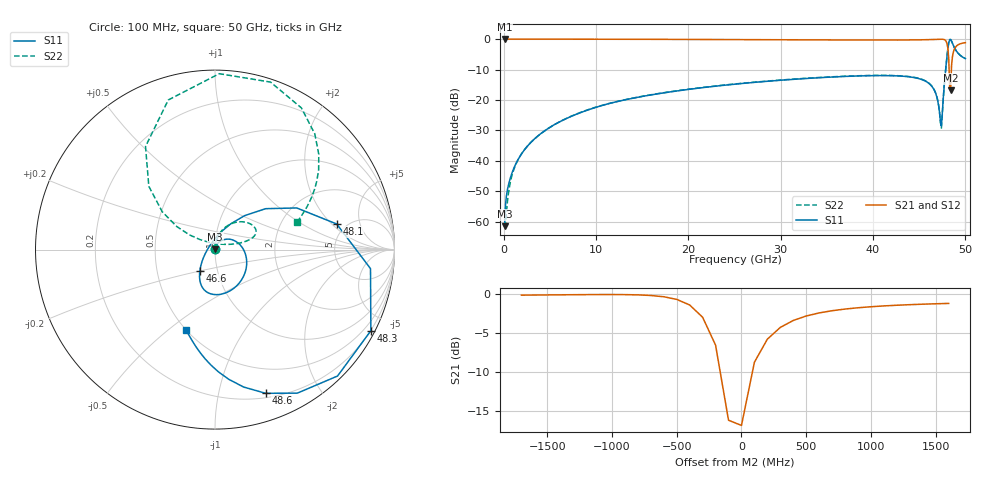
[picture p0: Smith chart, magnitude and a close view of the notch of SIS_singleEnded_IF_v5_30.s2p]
! Touchstone file from project
# GHZ S MA R 30.000000
! Modal data exported
! Port[1] = IF_output:1
! Port[2] = RF_input:1
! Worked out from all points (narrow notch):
!   500 points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, 100 MHz to 50 GHz, reference 30 ohm
!   highest |S21| = 0.00 dB at 100 MHz (marker M1); lowest = -16.8 dB at 48.4 GHz (marker M2)
!   notch at M2: 16.7 dB deep, 287 MHz wide at half that depth
!   lowest |S11| = -61.5 dB at 100 MHz (marker M3), VSWR 1.00, Z = 30 + j0.042 ohm
!   |S11| at or under -10 dB: start of sweep to 47.86 GHz
!   |S22| runs from -62.0 to -0.1 dB; largest |S21 - S12| = 0
!   S11 on the Smith chart (normalised r, x): 100 MHz: 1.00, +0.00; 46.6 GHz: 0.82, -0.20; 48.1 GHz: 4.20, +2.30; 48.3 GHz: 0.19, -4.08; 48.6 GHz: 0.24, -1.38; 50 GHz: 0.50, -0.58
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0.1  0.0008396 56.3  0.9999 -0.3  0.9999 -0.3  0.0007949 117.8
! Gamma 6.230977E-003 5.681200E+000 0.000000E+000 0.000000E+000
! Port Impedance 3.000000E+001 0.000000E+000 3.000000E+001 0.000000E+000
0.4  0.003307 80.6  0.9999 -1.1  0.9999 -1.1  0.002091 98.2
0.8  0.005692 81.3  0.9998 -2.2  0.9998 -2.2  0.005028 93.0
2  0.01342 78.6  0.9996 -5.5  0.9996 -5.5  0.0135 88.7
4.6  0.03234 68.9  0.999 -12.7  0.999 -12.7  0.03221 85.2
8.5  0.06327 53.3  0.9972 -23.3  0.9972 -23.3  0.06385 79.0
16.8  0.1269 20.2  0.9904 -46.3  0.9904 -46.3  0.1277 67.2
25.1  0.1819 -15.8  0.9813 -70.3  0.9813 -70.3  0.1833 54.7
33.4  0.2283 -52.5  0.971 -95.3  0.971 -95.3  0.2302 41.4
41.7  0.2507 -90.1  0.9648 -121.8  0.9648 -121.8  0.2529 25.8
45.1  0.2209 -108.9  0.972 -135.0  0.972 -135.0  0.223 18.0
46.6  0.1477 -125.0  0.9857 -144.4  0.9857 -144.4  0.1495 14.8
47.2  0.06206 -154.9  0.9948 -151.8  0.9948 -151.8  0.06241 27.8
47.4  0.0374 133.6  0.996 -155.9  0.996 -155.9  0.03433 92.0
47.6  0.1051 70.7  0.991 -161.7  0.991 -161.7  0.1024 146.5
47.8  0.2508 49.0  0.9641 -171.2  0.9641 -171.2  0.2488 148.9
48.1  0.693 11.9  0.7122 158.2  0.7122 158.2  0.6926 124.0
48.3  0.9789 -27.5  0.1559 121.7  0.1559 121.7  0.9804 88.6
48.4  0.9809 -45.9  0.1443 -78.1  0.1443 -78.1  0.9832 71.7
48.6  0.8489 -70.6  0.5155 -100.8  0.5155 -100.8  0.8517 49.3
49  0.6429 -92.1  0.7593 -120.5  0.7593 -120.5  0.6456 31.0
50  0.4776 -109.6  0.8737 -135.4  0.8737 -135.4  0.4802 18.4
